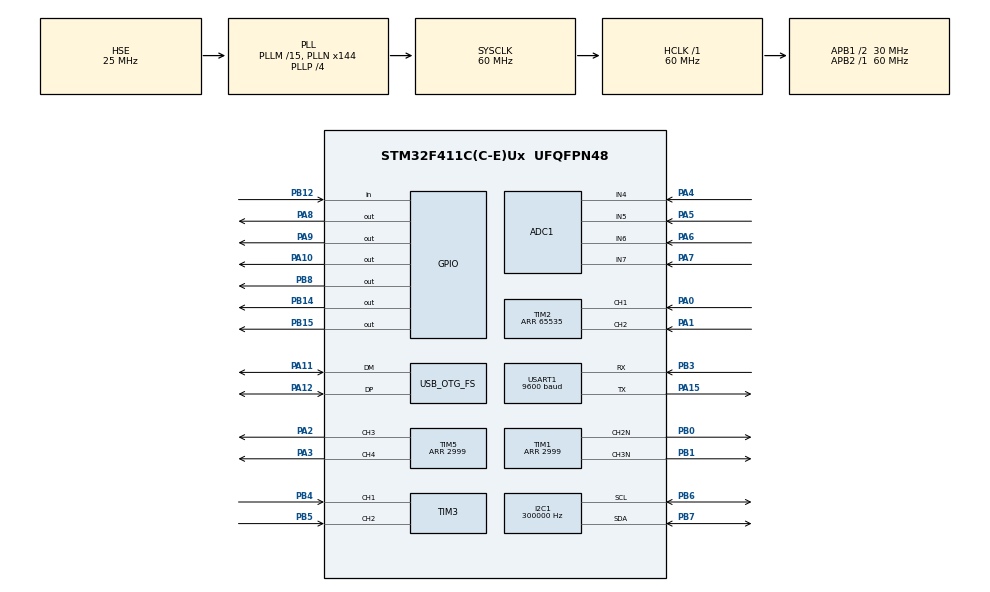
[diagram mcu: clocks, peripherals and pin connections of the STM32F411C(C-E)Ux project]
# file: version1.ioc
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ADC1.Channel-1\#ChannelRegularConversion=ADC_CHANNEL_4
ADC1.Channel-2\#ChannelRegularConversion=ADC_CHANNEL_5
ADC1.Channel-3\#ChannelRegularConversion=ADC_CHANNEL_6
ADC1.Channel-4\#ChannelRegularConversion=ADC_CHANNEL_7
ADC1.ContinuousConvMode=DISABLE
ADC1.DMAContinuousRequests=ENABLE
ADC1.EOCSelection=ADC_EOC_SEQ_CONV
ADC1.ExternalTrigConv=ADC_EXTERNALTRIGCONV_T4_CC4
ADC1.ExternalTrigConvEdge=ADC_EXTERNALTRIGCONVEDGE_RISING
ADC1.NbrOfConversion=4
ADC1.NbrOfConversionFlag=1
ADC1.Rank-1\#ChannelRegularConversion=1
ADC1.Rank-2\#ChannelRegularConversion=2
ADC1.Rank-3\#ChannelRegularConversion=3
ADC1.Rank-4\#ChannelRegularConversion=4
ADC1.SamplingTime-1\#ChannelRegularConversion=ADC_SAMPLETIME_112CYCLES
ADC1.SamplingTime-2\#ChannelRegularConversion=ADC_SAMPLETIME_112CYCLES
ADC1.SamplingTime-3\#ChannelRegularConversion=ADC_SAMPLETIME_112CYCLES
ADC1.SamplingTime-4\#ChannelRegularConversion=ADC_SAMPLETIME_112CYCLES
ADC1.ScanConvMode=ENABLE
ADC1.master=1
Dma.ADC1.0.Direction=DMA_PERIPH_TO_MEMORY
Dma.ADC1.0.FIFOMode=DMA_FIFOMODE_DISABLE
Dma.ADC1.0.Instance=DMA2_Stream0
Dma.ADC1.0.MemDataAlignment=DMA_MDATAALIGN_HALFWORD
Dma.ADC1.0.MemInc=DMA_MINC_ENABLE
Dma.ADC1.0.Mode=DMA_CIRCULAR
Dma.ADC1.0.PeriphDataAlignment=DMA_PDATAALIGN_HALFWORD
Dma.ADC1.0.PeriphInc=DMA_PINC_DISABLE
Dma.ADC1.0.Priority=DMA_PRIORITY_MEDIUM
Dma.I2C1_RX.1.Direction=DMA_PERIPH_TO_MEMORY
Dma.I2C1_RX.1.FIFOMode=DMA_FIFOMODE_DISABLE
Dma.I2C1_RX.1.Instance=DMA1_Stream0
Dma.I2C1_RX.1.MemDataAlignment=DMA_MDATAALIGN_BYTE
Dma.I2C1_RX.1.MemInc=DMA_MINC_ENABLE
Dma.I2C1_RX.1.Mode=DMA_NORMAL
Dma.I2C1_RX.1.PeriphDataAlignment=DMA_PDATAALIGN_BYTE
Dma.I2C1_RX.1.PeriphInc=DMA_PINC_DISABLE
Dma.I2C1_RX.1.Priority=DMA_PRIORITY_MEDIUM
Dma.Request0=ADC1
Dma.Request1=I2C1_RX
I2C1.ClockSpeed=300000
I2C1.I2C_Mode=I2C_Fast
Mcu.Family=STM32F4
Mcu.Name=STM32F411C(C-E)Ux
Mcu.Package=UFQFPN48
NVIC.DMA1_Stream0_IRQn=true\:0\:0\:false\:false\:true\:false\:true\:true
NVIC.DMA2_Stream0_IRQn=true\:0\:0\:false\:false\:true\:false\:true\:true
NVIC.I2C1_ER_IRQn=true\:0\:0\:false\:false\:true\:true\:true\:true
NVIC.I2C1_EV_IRQn=true\:0\:0\:false\:false\:true\:true\:true\:true
NVIC.OTG_FS_IRQn=true\:0\:0\:false\:false\:true\:false\:true\:true
NVIC.PriorityGroup=NVIC_PRIORITYGROUP_4
NVIC.TIM1_BRK_TIM9_IRQn=true\:0\:0\:false\:false\:true\:true\:true\:true
PA0-WKUP.Signal=S_TIM2_CH1_ETR
PA1.Signal=S_TIM2_CH2
PA10.Signal=GPIO_Output
PA11.Mode=Device_Only
PA11.Signal=USB_OTG_FS_DM
PA12.Mode=Device_Only
PA12.Signal=USB_OTG_FS_DP
PA15.Mode=Asynchronous
PA15.Signal=USART1_TX
PA2.Signal=S_TIM5_CH3
PA3.Signal=S_TIM5_CH4
PA4.Signal=ADCx_IN4
PA5.Signal=ADCx_IN5
PA6.Signal=ADCx_IN6
PA7.Signal=ADCx_IN7
PA8.Signal=GPIO_Output
PA9.Signal=GPIO_Output
PB0.Mode=PWM Generation2 CH2N
PB0.Signal=TIM1_CH2N
PB1.Mode=PWM Generation3 CH3N
PB1.Signal=TIM1_CH3N
PB12.GPIO_PuPd=GPIO_PULLUP
PB12.Signal=GPIO_Input
PB14.Signal=GPIO_Output
PB15.Signal=GPIO_Output
PB3.Mode=Asynchronous
PB3.Signal=USART1_RX
PB4.Signal=S_TIM3_CH1
PB5.Signal=S_TIM3_CH2
PB6.Mode=I2C
PB6.Signal=I2C1_SCL
PB7.Mode=I2C
PB7.Signal=I2C1_SDA
PB8.Signal=GPIO_Output
PH0\ -\ OSC_IN.Mode=HSE-External-Oscillator
PH0\ -\ OSC_IN.Signal=RCC_OSC_IN
PH1\ -\ OSC_OUT.Mode=HSE-External-Oscillator
PH1\ -\ OSC_OUT.Signal=RCC_OSC_OUT
ProjectManager.HeapSize=0x200
ProjectManager.StackSize=0x400
ProjectManager.TargetToolchain=STM32CubeIDE
RCC.48MHZClocksFreq_Value=48000000
RCC.AHBFreq_Value=60000000
RCC.APB1CLKDivider=RCC_HCLK_DIV2
RCC.APB1Freq_Value=30000000
RCC.APB1TimFreq_Value=60000000
RCC.APB2Freq_Value=60000000
RCC.APB2TimFreq_Value=60000000
RCC.CortexFreq_Value=60000000
RCC.HCLKFreq_Value=60000000
RCC.HSE_VALUE=25000000
RCC.HSI_VALUE=16000000
RCC.LSE_VALUE=32768
RCC.PLLM=15
RCC.PLLN=144
RCC.PLLP=RCC_PLLP_DIV4
RCC.PLLQ=5
RCC.SYSCLKFreq_VALUE=60000000
RCC.SYSCLKSource=RCC_SYSCLKSOURCE_PLLCLK
RCC.VCOOutputFreq_Value=240000000
SH.ADCx_IN4.0=ADC1_IN4,IN4
SH.ADCx_IN5.0=ADC1_IN5,IN5
SH.ADCx_IN6.0=ADC1_IN6,IN6
SH.ADCx_IN7.0=ADC1_IN7,IN7
SH.S_TIM2_CH1_ETR.0=TIM2_CH1,Encoder_Interface
SH.S_TIM2_CH2.0=TIM2_CH2,Encoder_Interface
SH.S_TIM3_CH1.0=TIM3_CH1,Encoder_Interface
SH.S_TIM3_CH2.0=TIM3_CH2,Encoder_Interface
SH.S_TIM5_CH3.0=TIM5_CH3,PWM Generation3 CH3
SH.S_TIM5_CH4.0=TIM5_CH4,PWM Generation4 CH4
TIM1.Channel-PWM\ Generation2\ CH2N=TIM_CHANNEL_2
TIM1.Channel-PWM\ Generation3\ CH3N=TIM_CHANNEL_3
TIM1.OCNPolarity_3=TIM_OCNPOLARITY_HIGH
TIM1.Period=2999
TIM1.TIM_MasterOutputTrigger=TIM_TRGO_RESET
TIM2.IC1Filter=15
TIM2.Period=65535
TIM3.IC1Filter=15
TIM4.Channel-PWM\ Generation4\ No\ Output=TIM_CHANNEL_4
TIM4.Period=12000
TIM4.Pulse-PWM\ Generation4\ No\ Output=2000
TIM4.TIM_MasterOutputTrigger=TIM_TRGO_OC4REF
TIM5.Channel-PWM\ Generation3\ CH3=TIM_CHANNEL_3
TIM5.Channel-PWM\ Generation4\ CH4=TIM_CHANNEL_4
TIM5.Period=2999
TIM9.Channel-PWM\ Generation1\ No\ Output=TIM_CHANNEL_1
TIM9.Period=60000
TIM9.Prescaler=1
USART1.BaudRate=9600
USART1.VirtualMode=VM_ASYNC
USB_DEVICE.CLASS_NAME_FS=CDC
USB_DEVICE.VirtualMode=Cdc
USB_DEVICE.VirtualModeFS=Cdc_FS
USB_OTG_FS.VirtualMode=Device_Only
VP_TIM4_VS_no_output4.Mode=PWM Generation4 No Output
VP_TIM9_VS_no_output1.Mode=PWM Generation1 No Output
VP_USB_DEVICE_VS_USB_DEVICE_CDC_FS.Mode=CDC_FS
board=custom

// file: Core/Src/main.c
/* USER CODE BEGIN Header */
/**
  ******************************************************************************
  * @file           : main.c
  * @brief          : Main program body (Fixed ADC DMA + Timer Trigger)
  ******************************************************************************
  */
/* USER CODE END Header */
#include "main.h"
#include "usb_device.h"

/* USER CODE BEGIN Includes */
#include "usbd_cdc_if.h"    // CDC_Transmit_FS, USBD_CDC_HandleTypeDef
#include "mpu6500.h"        // IMU
#include "adc.h"            // cảm biến hồng ngoại
#include "pid.h"            // động cơ + encoder + PID vận tốc
#include "solving_maze.h"   // giải mê cung flood fill, chạy liên tục
#include "mode_manager.h"   // chọn chế độ bằng IR trái + còi PB8, MODE 1 / MODE 2, tạm dừng khi nhấc xe
/* USER CODE END Includes */

ADC_HandleTypeDef hadc1;
DMA_HandleTypeDef hdma_adc1;

I2C_HandleTypeDef hi2c1;
DMA_HandleTypeDef hdma_i2c1_rx;

TIM_HandleTypeDef htim1;
TIM_HandleTypeDef htim2;
TIM_HandleTypeDef htim3;
TIM_HandleTypeDef htim4;
TIM_HandleTypeDef htim5;
TIM_HandleTypeDef htim9;

UART_HandleTypeDef huart1;

/* USER CODE BEGIN PV */
extern USBD_HandleTypeDef hUsbDeviceFS;   // khai báo trong usb_device.c
/* USER CODE END PV */

void SystemClock_Config(void);
static void MX_GPIO_Init(void);
static void MX_DMA_Init(void);
static void MX_ADC1_Init(void);
static void MX_I2C1_Init(void);
static void MX_TIM1_Init(void);
static void MX_TIM2_Init(void);
static void MX_TIM3_Init(void);
static void MX_TIM5_Init(void);
static void MX_TIM4_Init(void);
static void MX_TIM9_Init(void);
static void MX_USART1_UART_Init(void);
/* USER CODE BEGIN PFP */
// Hàm gửi dữ liệu qua CDC
// Không bao giờ treo chương trình khi chưa cắm USB hoặc máy tính chưa mở cổng COM:
//   - chưa cắm USB (chưa enumerate): bỏ qua luôn (pClassData = NULL, CDC_Transmit_FS sẽ đọc rác)
//   - máy tính không đọc: chờ tối đa 20ms rồi bỏ dòng này; các dòng sau bỏ ngay cho tới khi máy tính đọc lại
// Trước đây hàm này chờ vô hạn -> xe chạy pin không cắm USB sẽ đứng im ở lần in đầu tiên
void CDC_Print(const char *str) {
    static uint8_t host_stalled = 0;
    if (hUsbDeviceFS.dev_state != USBD_STATE_CONFIGURED) return;
    uint16_t len = (uint16_t)strlen(str);
    uint32_t start = HAL_GetTick();
    while (CDC_Transmit_FS((uint8_t*)str, len) == USBD_BUSY) {
        if (host_stalled || HAL_GetTick() - start > 20) {
            host_stalled = 1;
            return;
        }
    }
    host_stalled = 0;
}
// Chờ tới khi máy tính thật sự đọc dữ liệu USB (đã cắm cáp VÀ mở cổng COM trong phần mềm terminal):
// gửi 1 dòng trống, máy tính đọc xong trong 100ms nghĩa là cổng đã mở. Gọi ở luồng chính, không gọi trong ngắt.
void CDC_WaitHost(void)
{
    while (1) {
        if (hUsbDeviceFS.dev_state == USBD_STATE_CONFIGURED &&
            CDC_Transmit_FS((uint8_t*)"\r\n", 2) == USBD_OK) {
            USBD_CDC_HandleTypeDef *hcdc = (USBD_CDC_HandleTypeDef*)hUsbDeviceFS.pClassData;
            uint32_t start = HAL_GetTick();
            while (HAL_GetTick() - start < 100) {
                if (hcdc->TxState == 0) return;
            }
        }
        HAL_Delay(200);
    }
}
// Gửi chuỗi qua USART1 (PA15 TX -> HC-05), kiểu chờ: ~87us/byte ở 115200 (dòng 70 ký tự ~6ms).
// HC-05 chưa kết nối vẫn nhận rồi bỏ -> không treo. Chỉ gọi ở luồng chính, KHÔNG gọi trong ngắt.
// HC-05 mặc định 9600 baud: phải đổi sang 115200 (lệnh AT+UART=115200,0,0) cho khớp, không thì ra ký tự rác.
void UART_Print(const char *str)
{
    uint16_t len = (uint16_t)strlen(str);
    // Thời gian chờ theo độ dài + baud (10 bit/byte) + dư 20ms: ở 9600 baud 1 dòng 100 ký tự mất ~104ms,
    // chờ cố định 100ms thì bị cắt mất cuối dòng
    uint32_t timeout_ms = (uint32_t)len * 10000U / huart1.Init.BaudRate + 20U;
    HAL_UART_Transmit(&huart1, (uint8_t *)str, len, timeout_ms);
}
// Chờ nhận 1 ký tự bất kỳ qua USART1 (gửi từ app Bluetooth). In lời nhắc mỗi 2s để máy vừa kết nối cũng thấy.
void UART_WaitStart(const char *prompt)
{
    uint8_t c;
    __HAL_UART_CLEAR_OREFLAG(&huart1);    // Đọc SR + DR: bỏ ký tự cũ còn kẹt và cờ tràn
    while (1) {
        UART_Print(prompt);
        if (HAL_UART_Receive(&huart1, &c, 1, 2000) == HAL_OK) return;
    }
}
// Đọc 1 ký tự USART1 KHÔNG CHỜ: -1 = chưa có. Đọc SR (cờ) rồi DR -> xóa cả RXNE lẫn cờ tràn ORE
// (ký tự đến lúc không ai đọc, vd đang chạy mê cung, thì chỉ giữ ký tự cuối)
int UART_TryRead(void)
{
    if (__HAL_UART_GET_FLAG(&huart1, UART_FLAG_RXNE) || __HAL_UART_GET_FLAG(&huart1, UART_FLAG_ORE)) {
        return (int)(huart1.Instance->DR & 0xFFU);
    }
    return -1;
}
/* USER CODE END PFP */

int main(void)
{

  /* MCU Configuration--------------------------------------------------------*/

  /* Reset of all peripherals, Initializes the Flash interface and the Systick. */
  HAL_Init();

  /* Configure the system clock */
  SystemClock_Config();

  /* Initialize all configured peripherals */
  MX_GPIO_Init();
  MX_DMA_Init();
  MX_ADC1_Init();
  MX_I2C1_Init();
  MX_TIM1_Init();
  MX_TIM2_Init();
  MX_TIM3_Init();
  MX_TIM5_Init();
  MX_TIM4_Init();
  MX_TIM9_Init();
  MX_USB_DEVICE_Init();
  MX_USART1_UART_Init();
  /* USER CODE BEGIN 2 */
  // 1. Cảm biến hồng ngoại: ADC quét 4 kênh bằng DMA, TIM4 CC4 kích ~5kHz (adc.c)
  ADC_IR_Start();
  // 2. Động cơ: PWM TIM1/TIM5 + encoder TIM2/TIM3, động cơ ở trạng thái phanh (pid.c)
  Motor_Init();
  // 3. Bật ngắt TIM9 500Hz SAU CÙNG: nhịp 2ms chạy vòng vận tốc + đọc IMU,
  //    lúc này PWM, encoder đã sẵn sàng (IMU tự chờ imu_ready mới đọc)
  HAL_TIM_Base_Start_IT(&htim9);
  /* USER CODE END 2 */

  /* Infinite loop */
  /* USER CODE BEGIN WHILE */
  // INIT CÁC GPIO
  // Bật LED phát hồng ngoại (adc.c), chờ cho led bật hoàn toàn.
  ADC_IR_EmittersOn();
  HAL_Delay(300);
  //
// KHỞI ĐÔNG MPU LỖI NẾU LED KO SÁNG
  // Khởi tạo + hiệu chỉnh gyro (~1.2s, để xe đứng yên), xong mới cho ngắt TIM9 đọc IMU bằng DMA (mpu6500.c)
  if (MPU6500_Setup() == HAL_OK) {
	  HAL_GPIO_WritePin(GPIOB, GPIO_PIN_14, 1);
    	      } else {
    	    	  HAL_GPIO_WritePin(GPIOB, GPIO_PIN_14, 0);
    	      }
  // Ví dụ chạy PID vận tốc (mm/s, dương = chạy tới):
  // Motor_SetSpeed(300.0f, 300.0f);   // tăng tốc dần lên 300 mm/s
  // Motor_SetSpeed(0.0f, 0.0f);       // giảm tốc dần rồi dừng
  // Motor_Stop();                     // dừng ngay, tắt PID
  //print_LED();
  // PID_Test(1);
  // gọi print_SpeedPID() trong while(1) để xem đáp ứng
  // PID_Test(0);                      // chạy bài test PID rồi in báo cáo (bỏ 2 dòng trong while(1))
  // PID_Test(1);                      // như trên, in thêm dữ liệu thô từng 2ms để vẽ đồ thị
  // PID_Test chạy xong sẽ đứng phanh CHỜ máy tính mở cổng COM rồi mới in, in xong mới chạy lần tiếp theo.
  // Gọi trong while(1) -> lặp lại; muốn chạy đúng 1 lần thì gọi ở đây (trước while) và để while(1) trống.
  // MPU6500_Test(60);                 // đo nhiễu IMU khi tắt PWM / PWM băm xung / bánh quay + 60s theo dõi
                                       // bias gyro theo nhiệt độ (KÊ BÁNH LÊN), xong chờ mở cổng COM rồi in
  // Rectangle_Test(300.0f, 200.0f);   // đi hình chữ nhật 30x20cm quay phải, về chỗ cũ (ĐẶT TRÊN SÀN), xong chờ COM rồi in
  // Straight_Test(500.0f, 250.0f);    // đi thẳng 500mm (âm = lùi), tốc độ 250mm/s, xong chờ COM rồi in báo cáo
//   print_mpu6500();                  // in giá trị MPU sau bộ lọc qua USART1 (HC-05), gọi lặp trong while(1)
  // Move_Straight(180.0f, 250.0f); Turn_Right(90.0f); Turn_Left(90.0f);   // các lệnh lẻ (chờ xong mới chạy lệnh sau)
  // Move_Straight(0.0f, 0.0f);       // tốc độ 0: ĐỨNG GIỮ HƯỚNG, trả về ngay, xoay tay thì xe tự quay về
                                       // (giữ tới lệnh chuyển động khác; while(1) vẫn chạy, vd in print_mpu6500)
  // GIẢI MÊ CUNG: do mode_manager.c điều khiển (trước đây gọi trực tiếp:
  //   Maze_Init(); while (Maze_Step() != MAZE_STATE_FINISHED && Maze_GetState() != MAZE_STATE_ERROR) {} Maze_SendMap();)
  // Đặt xe ở TÂM ô xuất phát, mũi hướng Bắc (ra lối mở). Che mắt IR trái N lần (mỗi lần còi kêu 1 tiếng), hết còi 3s
  // không che = chạy MODE N: 1 dò tiếp map cũ trong Flash, 2 chạy nhanh + quay về, 3 dò map mới (1 tiếng bíp dài).
  // MODE 1 khi Flash trống, MODE 2 khi Flash trống / map chưa có đường tới đích: 3 bíp lỗi, xe không chạy.
  // Bản đồ lưu Flash sector 7 (còn sau khi tắt nguồn) và gửi qua HC-05 cho maze/maze_viewer.py khi xong mỗi lượt và
  // mỗi khi máy tính gửi 1 ký tự lúc xe đứng chờ.
//  ModeManager_Init();
  while (1)
  {
	 // print_LED();
	 // ModeManager_Update();             // Không chặn: gọi liên tục, KHÔNG thêm HAL_Delay vào vòng lặp này

		  // ===== THU CUA CONG: 1 vong hinh vuong moi lan nhan phim (HC-05) =====
		  UART_WaitStart("Dat xe o tam o giua canh, nhan phim de chay vong vuong\r\n");
		  HAL_Delay(1000);                         // bo tay ra, xe nam yen
		  Motion_Begin();                          // do lai gyro, lay huong + vi tri hien tai lam goc
		  const int laps = 1;                      // so vong lien tiep (tang len de thay sai so cong don)
		  float h0 = Robot_Heading();
		  uint8_t ok = 1;
		  for (int k = 0; k < 4 * laps && ok; k++) {
			  if (!Smooth_Turn_Left_90()) ok = 0;  // Smooth_Turn_Right_90(): di chieu kim dong ho
			  while (ok && Motion_Status() == MOTION_STATUS_RUNNING) { }
			  if (Motion_Status() != MOTION_STATUS_DONE) ok = 0;
		  }
		  char buf[140];
		  snprintf(buf, sizeof(buf), "Vong vuong: %s | xe tu tinh: lech vi tri %.1f mm (x %+.1f y %+.1f), lech huong %+.2f do\r\n",
		           ok ? "XONG" : "DUNG GIUA CHUNG", sqrtf(odo_x_mm * odo_x_mm + odo_y_mm * odo_y_mm),
		           odo_x_mm, odo_y_mm, Robot_Heading() - h0 - 360.0f * laps);   // cua phai: + 360 * laps
		  UART_Print(buf);

	  Move_Straight(1000.0f, 500.0f);
	  print_LED();

	  // 2s để bỏ tay ra, xe nằm yên trên sàn

    /* USER CODE END WHILE */

  }
}

void SystemClock_Config(void)
{
  RCC_OscInitTypeDef RCC_OscInitStruct = {0};
  RCC_ClkInitTypeDef RCC_ClkInitStruct = {0};

  /** Configure the main internal regulator output voltage
  */
  __HAL_RCC_PWR_CLK_ENABLE();
  __HAL_PWR_VOLTAGESCALING_CONFIG(PWR_REGULATOR_VOLTAGE_SCALE1);

  /** Initializes the RCC Oscillators according to the specified parameters
  * in the RCC_OscInitTypeDef structure.
  */
  RCC_OscInitStruct.OscillatorType = RCC_OSCILLATORTYPE_HSE;
  RCC_OscInitStruct.HSEState = RCC_HSE_ON;
  RCC_OscInitStruct.PLL.PLLState = RCC_PLL_ON;
  RCC_OscInitStruct.PLL.PLLSource = RCC_PLLSOURCE_HSE;
  RCC_OscInitStruct.PLL.PLLM = 15;
  RCC_OscInitStruct.PLL.PLLN = 144;
  RCC_OscInitStruct.PLL.PLLP = RCC_PLLP_DIV4;
  RCC_OscInitStruct.PLL.PLLQ = 5;
  if (HAL_RCC_OscConfig(&RCC_OscInitStruct) != HAL_OK)
  {
    Error_Handler();
  }

  /** Initializes the CPU, AHB and APB buses clocks
  */
  RCC_ClkInitStruct.ClockType = RCC_CLOCKTYPE_HCLK|RCC_CLOCKTYPE_SYSCLK
                              |RCC_CLOCKTYPE_PCLK1|RCC_CLOCKTYPE_PCLK2;
  RCC_ClkInitStruct.SYSCLKSource = RCC_SYSCLKSOURCE_PLLCLK;
  RCC_ClkInitStruct.AHBCLKDivider = RCC_SYSCLK_DIV1;
  RCC_ClkInitStruct.APB1CLKDivider = RCC_HCLK_DIV2;
  RCC_ClkInitStruct.APB2CLKDivider = RCC_HCLK_DIV1;

  if (HAL_RCC_ClockConfig(&RCC_ClkInitStruct, FLASH_LATENCY_1) != HAL_OK)
  {
    Error_Handler();
  }
}

static void MX_ADC1_Init(void)
{

  ADC_ChannelConfTypeDef sConfig = {0};

  /** Configure the global features of the ADC (Clock, Resolution, Data Alignment and number of conversion)
  */
  hadc1.Instance = ADC1;
  hadc1.Init.ClockPrescaler = ADC_CLOCK_SYNC_PCLK_DIV2;
  hadc1.Init.Resolution = ADC_RESOLUTION_12B;
  hadc1.Init.ScanConvMode = ENABLE;
  hadc1.Init.ContinuousConvMode = DISABLE;
  hadc1.Init.DiscontinuousConvMode = DISABLE;
  hadc1.Init.ExternalTrigConvEdge = ADC_EXTERNALTRIGCONVEDGE_RISING;
  hadc1.Init.ExternalTrigConv = ADC_EXTERNALTRIGCONV_T4_CC4;
  hadc1.Init.DataAlign = ADC_DATAALIGN_RIGHT;
  hadc1.Init.NbrOfConversion = 4;
  hadc1.Init.DMAContinuousRequests = ENABLE;
  hadc1.Init.EOCSelection = ADC_EOC_SEQ_CONV;
  if (HAL_ADC_Init(&hadc1) != HAL_OK)
  {
    Error_Handler();
  }

  /** Configure for the selected ADC regular channel its corresponding rank in the sequencer and its sample time.
  */
  sConfig.Channel = ADC_CHANNEL_4;
  sConfig.Rank = 1;
  sConfig.SamplingTime = ADC_SAMPLETIME_112CYCLES;
  if (HAL_ADC_ConfigChannel(&hadc1, &sConfig) != HAL_OK)
  {
    Error_Handler();
  }

  /** Configure for the selected ADC regular channel its corresponding rank in the sequencer and its sample time.
  */
  sConfig.Channel = ADC_CHANNEL_5;
  sConfig.Rank = 2;
  if (HAL_ADC_ConfigChannel(&hadc1, &sConfig) != HAL_OK)
  {
    Error_Handler();
  }

  /** Configure for the selected ADC regular channel its corresponding rank in the sequencer and its sample time.
  */
  sConfig.Channel = ADC_CHANNEL_6;
  sConfig.Rank = 3;
  if (HAL_ADC_ConfigChannel(&hadc1, &sConfig) != HAL_OK)
  {
    Error_Handler();
  }

  /** Configure for the selected ADC regular channel its corresponding rank in the sequencer and its sample time.
  */
  sConfig.Channel = ADC_CHANNEL_7;
  sConfig.Rank = 4;
  if (HAL_ADC_ConfigChannel(&hadc1, &sConfig) != HAL_OK)
  {
    Error_Handler();
  }

}

static void MX_I2C1_Init(void)
{

  hi2c1.Instance = I2C1;
  hi2c1.Init.ClockSpeed = 300000;
  hi2c1.Init.DutyCycle = I2C_DUTYCYCLE_2;
  hi2c1.Init.OwnAddress1 = 0;
  hi2c1.Init.AddressingMode = I2C_ADDRESSINGMODE_7BIT;
  hi2c1.Init.DualAddressMode = I2C_DUALADDRESS_DISABLE;
  hi2c1.Init.OwnAddress2 = 0;
  hi2c1.Init.GeneralCallMode = I2C_GENERALCALL_DISABLE;
  hi2c1.Init.NoStretchMode = I2C_NOSTRETCH_DISABLE;
  if (HAL_I2C_Init(&hi2c1) != HAL_OK)
  {
    Error_Handler();
  }

}

static void MX_TIM1_Init(void)
{

  TIM_MasterConfigTypeDef sMasterConfig = {0};
  TIM_OC_InitTypeDef sConfigOC = {0};
  TIM_BreakDeadTimeConfigTypeDef sBreakDeadTimeConfig = {0};

  htim1.Instance = TIM1;
  htim1.Init.Prescaler = 0;
  htim1.Init.CounterMode = TIM_COUNTERMODE_UP;
  htim1.Init.Period = 2999;
  htim1.Init.ClockDivision = TIM_CLOCKDIVISION_DIV1;
  htim1.Init.RepetitionCounter = 0;
  htim1.Init.AutoReloadPreload = TIM_AUTORELOAD_PRELOAD_DISABLE;
  if (HAL_TIM_PWM_Init(&htim1) != HAL_OK)
  {
    Error_Handler();
  }
  sMasterConfig.MasterOutputTrigger = TIM_TRGO_RESET;
  sMasterConfig.MasterSlaveMode = TIM_MASTERSLAVEMODE_DISABLE;
  if (HAL_TIMEx_MasterConfigSynchronization(&htim1, &sMasterConfig) != HAL_OK)
  {
    Error_Handler();
  }
  sConfigOC.OCMode = TIM_OCMODE_PWM1;
  sConfigOC.Pulse = 0;
  sConfigOC.OCPolarity = TIM_OCPOLARITY_HIGH;
  sConfigOC.OCNPolarity = TIM_OCNPOLARITY_HIGH;
  sConfigOC.OCFastMode = TIM_OCFAST_DISABLE;
  sConfigOC.OCIdleState = TIM_OCIDLESTATE_RESET;
  sConfigOC.OCNIdleState = TIM_OCNIDLESTATE_RESET;
  if (HAL_TIM_PWM_ConfigChannel(&htim1, &sConfigOC, TIM_CHANNEL_2) != HAL_OK)
  {
    Error_Handler();
  }
  if (HAL_TIM_PWM_ConfigChannel(&htim1, &sConfigOC, TIM_CHANNEL_3) != HAL_OK)
  {
    Error_Handler();
  }
  sBreakDeadTimeConfig.OffStateRunMode = TIM_OSSR_DISABLE;
  sBreakDeadTimeConfig.OffStateIDLEMode = TIM_OSSI_DISABLE;
  sBreakDeadTimeConfig.LockLevel = TIM_LOCKLEVEL_OFF;
  sBreakDeadTimeConfig.DeadTime = 0;
  sBreakDeadTimeConfig.BreakState = TIM_BREAK_DISABLE;
  sBreakDeadTimeConfig.BreakPolarity = TIM_BREAKPOLARITY_HIGH;
  sBreakDeadTimeConfig.AutomaticOutput = TIM_AUTOMATICOUTPUT_DISABLE;
  if (HAL_TIMEx_ConfigBreakDeadTime(&htim1, &sBreakDeadTimeConfig) != HAL_OK)
  {
    Error_Handler();
  }
  HAL_TIM_MspPostInit(&htim1);

}

static void MX_TIM2_Init(void)
{

  TIM_Encoder_InitTypeDef sConfig = {0};
  TIM_MasterConfigTypeDef sMasterConfig = {0};

  htim2.Instance = TIM2;
  htim2.Init.Prescaler = 0;
  htim2.Init.CounterMode = TIM_COUNTERMODE_UP;
  htim2.Init.Period = 65535;
  htim2.Init.ClockDivision = TIM_CLOCKDIVISION_DIV1;
  htim2.Init.AutoReloadPreload = TIM_AUTORELOAD_PRELOAD_DISABLE;
  sConfig.EncoderMode = TIM_ENCODERMODE_TI1;
  sConfig.IC1Polarity = TIM_ICPOLARITY_RISING;
  sConfig.IC1Selection = TIM_ICSELECTION_DIRECTTI;
  sConfig.IC1Prescaler = TIM_ICPSC_DIV1;
  sConfig.IC1Filter = 15;
  sConfig.IC2Polarity = TIM_ICPOLARITY_RISING;
  sConfig.IC2Selection = TIM_ICSELECTION_DIRECTTI;
  sConfig.IC2Prescaler = TIM_ICPSC_DIV1;
  sConfig.IC2Filter = 0;
  if (HAL_TIM_Encoder_Init(&htim2, &sConfig) != HAL_OK)
  {
    Error_Handler();
  }
  sMasterConfig.MasterOutputTrigger = TIM_TRGO_RESET;
  sMasterConfig.MasterSlaveMode = TIM_MASTERSLAVEMODE_DISABLE;
  if (HAL_TIMEx_MasterConfigSynchronization(&htim2, &sMasterConfig) != HAL_OK)
  {
    Error_Handler();
  }

}

static void MX_TIM3_Init(void)
{

  TIM_Encoder_InitTypeDef sConfig = {0};
  TIM_MasterConfigTypeDef sMasterConfig = {0};

  htim3.Instance = TIM3;
  htim3.Init.Prescaler = 0;
  htim3.Init.CounterMode = TIM_COUNTERMODE_UP;
  htim3.Init.Period = 65535;
  htim3.Init.ClockDivision = TIM_CLOCKDIVISION_DIV1;
  htim3.Init.AutoReloadPreload = TIM_AUTORELOAD_PRELOAD_DISABLE;
  sConfig.EncoderMode = TIM_ENCODERMODE_TI1;
  sConfig.IC1Polarity = TIM_ICPOLARITY_RISING;
  sConfig.IC1Selection = TIM_ICSELECTION_DIRECTTI;
  sConfig.IC1Prescaler = TIM_ICPSC_DIV1;
  sConfig.IC1Filter = 15;
  sConfig.IC2Polarity = TIM_ICPOLARITY_RISING;
  sConfig.IC2Selection = TIM_ICSELECTION_DIRECTTI;
  sConfig.IC2Prescaler = TIM_ICPSC_DIV1;
  sConfig.IC2Filter = 0;
  if (HAL_TIM_Encoder_Init(&htim3, &sConfig) != HAL_OK)
  {
    Error_Handler();
  }
  sMasterConfig.MasterOutputTrigger = TIM_TRGO_RESET;
  sMasterConfig.MasterSlaveMode = TIM_MASTERSLAVEMODE_DISABLE;
  if (HAL_TIMEx_MasterConfigSynchronization(&htim3, &sMasterConfig) != HAL_OK)
  {
    Error_Handler();
  }

}

static void MX_TIM4_Init(void)
{

  TIM_MasterConfigTypeDef sMasterConfig = {0};
  TIM_OC_InitTypeDef sConfigOC = {0};

  htim4.Instance = TIM4;
  htim4.Init.Prescaler = 0;
  htim4.Init.CounterMode = TIM_COUNTERMODE_UP;
  htim4.Init.Period = 12000;
  htim4.Init.ClockDivision = TIM_CLOCKDIVISION_DIV1;
  htim4.Init.AutoReloadPreload = TIM_AUTORELOAD_PRELOAD_DISABLE;
  if (HAL_TIM_PWM_Init(&htim4) != HAL_OK)
  {
    Error_Handler();
  }
  sMasterConfig.MasterOutputTrigger = TIM_TRGO_OC4REF;
  sMasterConfig.MasterSlaveMode = TIM_MASTERSLAVEMODE_DISABLE;
  if (HAL_TIMEx_MasterConfigSynchronization(&htim4, &sMasterConfig) != HAL_OK)
  {
    Error_Handler();
  }
  sConfigOC.OCMode = TIM_OCMODE_PWM1;
  sConfigOC.Pulse = 2000;
  sConfigOC.OCPolarity = TIM_OCPOLARITY_HIGH;
  sConfigOC.OCFastMode = TIM_OCFAST_DISABLE;
  if (HAL_TIM_PWM_ConfigChannel(&htim4, &sConfigOC, TIM_CHANNEL_4) != HAL_OK)
  {
    Error_Handler();
  }

}

static void MX_TIM5_Init(void)
{

  TIM_MasterConfigTypeDef sMasterConfig = {0};
  TIM_OC_InitTypeDef sConfigOC = {0};

  htim5.Instance = TIM5;
  htim5.Init.Prescaler = 0;
  htim5.Init.CounterMode = TIM_COUNTERMODE_UP;
  htim5.Init.Period = 2999;
  htim5.Init.ClockDivision = TIM_CLOCKDIVISION_DIV1;
  htim5.Init.AutoReloadPreload = TIM_AUTORELOAD_PRELOAD_DISABLE;
  if (HAL_TIM_PWM_Init(&htim5) != HAL_OK)
  {
    Error_Handler();
  }
  sMasterConfig.MasterOutputTrigger = TIM_TRGO_RESET;
  sMasterConfig.MasterSlaveMode = TIM_MASTERSLAVEMODE_DISABLE;
  if (HAL_TIMEx_MasterConfigSynchronization(&htim5, &sMasterConfig) != HAL_OK)
  {
    Error_Handler();
  }
  sConfigOC.OCMode = TIM_OCMODE_PWM1;
  sConfigOC.Pulse = 0;
  sConfigOC.OCPolarity = TIM_OCPOLARITY_HIGH;
  sConfigOC.OCFastMode = TIM_OCFAST_DISABLE;
  if (HAL_TIM_PWM_ConfigChannel(&htim5, &sConfigOC, TIM_CHANNEL_3) != HAL_OK)
  {
    Error_Handler();
  }
  if (HAL_TIM_PWM_ConfigChannel(&htim5, &sConfigOC, TIM_CHANNEL_4) != HAL_OK)
  {
    Error_Handler();
  }
  HAL_TIM_MspPostInit(&htim5);

}

static void MX_TIM9_Init(void)
{

  TIM_OC_InitTypeDef sConfigOC = {0};

  htim9.Instance = TIM9;
  htim9.Init.Prescaler = 1;
  htim9.Init.CounterMode = TIM_COUNTERMODE_UP;
  htim9.Init.Period = 60000;
  htim9.Init.ClockDivision = TIM_CLOCKDIVISION_DIV1;
  htim9.Init.AutoReloadPreload = TIM_AUTORELOAD_PRELOAD_DISABLE;
  if (HAL_TIM_PWM_Init(&htim9) != HAL_OK)
  {
    Error_Handler();
  }
  sConfigOC.OCMode = TIM_OCMODE_PWM1;
  sConfigOC.Pulse = 0;
  sConfigOC.OCPolarity = TIM_OCPOLARITY_HIGH;
  sConfigOC.OCFastMode = TIM_OCFAST_DISABLE;
  if (HAL_TIM_PWM_ConfigChannel(&htim9, &sConfigOC, TIM_CHANNEL_1) != HAL_OK)
  {
    Error_Handler();
  }

}

static void MX_USART1_UART_Init(void)
{

  huart1.Instance = USART1;
  huart1.Init.BaudRate = 9600;
  huart1.Init.WordLength = UART_WORDLENGTH_8B;
  huart1.Init.StopBits = UART_STOPBITS_1;
  huart1.Init.Parity = UART_PARITY_NONE;
  huart1.Init.Mode = UART_MODE_TX_RX;
  huart1.Init.HwFlowCtl = UART_HWCONTROL_NONE;
  huart1.Init.OverSampling = UART_OVERSAMPLING_16;
  if (HAL_UART_Init(&huart1) != HAL_OK)
  {
    Error_Handler();
  }

}

static void MX_DMA_Init(void)
{

  /* DMA controller clock enable */
  __HAL_RCC_DMA2_CLK_ENABLE();
  __HAL_RCC_DMA1_CLK_ENABLE();

  /* DMA interrupt init */
  /* DMA1_Stream0_IRQn interrupt configuration */
  HAL_NVIC_SetPriority(DMA1_Stream0_IRQn, 0, 0);
  HAL_NVIC_EnableIRQ(DMA1_Stream0_IRQn);
  /* DMA2_Stream0_IRQn interrupt configuration */
  HAL_NVIC_SetPriority(DMA2_Stream0_IRQn, 0, 0);
  HAL_NVIC_EnableIRQ(DMA2_Stream0_IRQn);

}

static void MX_GPIO_Init(void)
{
  GPIO_InitTypeDef GPIO_InitStruct = {0};

  /* GPIO Ports Clock Enable */
  __HAL_RCC_GPIOH_CLK_ENABLE();
  __HAL_RCC_GPIOA_CLK_ENABLE();
  __HAL_RCC_GPIOB_CLK_ENABLE();

  /*Configure GPIO pin Output Level */
  HAL_GPIO_WritePin(GPIOB, GPIO_PIN_14|GPIO_PIN_15|GPIO_PIN_8, GPIO_PIN_RESET);

  /*Configure GPIO pin Output Level */
  HAL_GPIO_WritePin(GPIOA, GPIO_PIN_8|GPIO_PIN_9|GPIO_PIN_10, GPIO_PIN_RESET);

  /*Configure GPIO pin : PB12 */
  GPIO_InitStruct.Pin = GPIO_PIN_12;
  GPIO_InitStruct.Mode = GPIO_MODE_INPUT;
  GPIO_InitStruct.Pull = GPIO_PULLUP;
  HAL_GPIO_Init(GPIOB, &GPIO_InitStruct);

  /*Configure GPIO pins : PB14 PB15 PB8 */
  GPIO_InitStruct.Pin = GPIO_PIN_14|GPIO_PIN_15|GPIO_PIN_8;
  GPIO_InitStruct.Mode = GPIO_MODE_OUTPUT_PP;
  GPIO_InitStruct.Pull = GPIO_NOPULL;
  GPIO_InitStruct.Speed = GPIO_SPEED_FREQ_LOW;
  HAL_GPIO_Init(GPIOB, &GPIO_InitStruct);

  /*Configure GPIO pins : PA8 PA9 PA10 */
  GPIO_InitStruct.Pin = GPIO_PIN_8|GPIO_PIN_9|GPIO_PIN_10;
  GPIO_InitStruct.Mode = GPIO_MODE_OUTPUT_PP;
  GPIO_InitStruct.Pull = GPIO_NOPULL;
  GPIO_InitStruct.Speed = GPIO_SPEED_FREQ_LOW;
  HAL_GPIO_Init(GPIOA, &GPIO_InitStruct);

}

/* USER CODE BEGIN 4 */
void HAL_TIM_PeriodElapsedCallback(TIM_HandleTypeDef* htim)
{
    // Cú pháp đúng: TIM9 (không có &htim)
    if (htim->Instance == TIM9)
    {
        // Nhịp điều khiển 2ms (ngắt TIM1_BRK_TIM9). Chỉ gọi hàm không chặn, không in USB ở đây.
        // 1. Đọc encoder + PID vận tốc động cơ (pid.c)
        Motor_Speed_Tick();
        // 2. Ra lệnh đọc IMU bằng DMA; đọc xong HAL gọi HAL_I2C_MemRxCpltCallback (mpu6500.c)
        MPU6500_Tick();
        // 3. Bảo vệ: phát hiện nhấc xe bằng encoder / IR khi đang chạy (mode_manager.c), khóa động cơ ngay
        (void)Check_Robot_Picked_Up();
    }
}
/* USER CODE END 4 */

void Error_Handler(void)
{
  __disable_irq();
  while (1)
  {
  }
}
